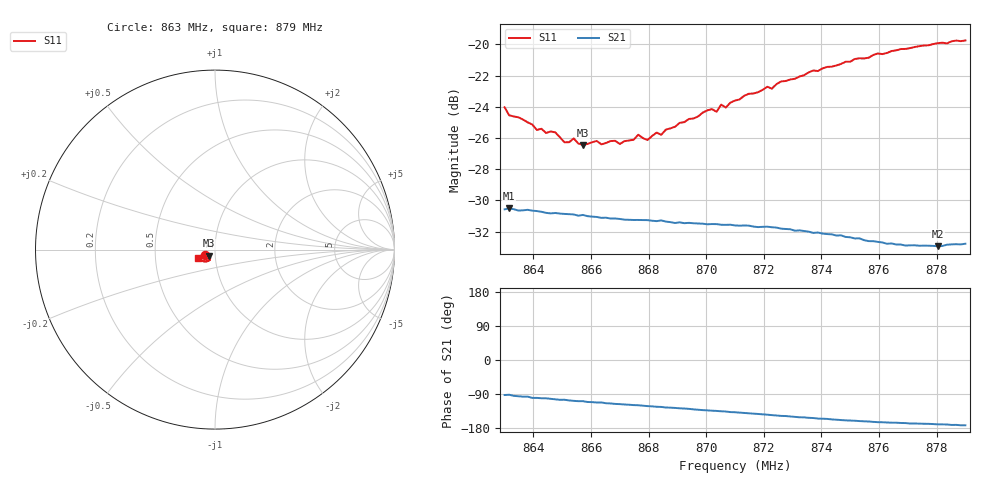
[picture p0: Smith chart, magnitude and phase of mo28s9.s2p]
# HZ S RI R 50
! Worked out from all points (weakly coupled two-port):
!   101 points, 863 MHz to 879 MHz, reference 50 ohm
!   highest |S21| = -30.51 dB at 863.16 MHz (marker M1); lowest = -32.9 dB at 878.04 MHz (marker M2)
!   lowest |S11| = -26.4 dB at 865.72 MHz (marker M3), VSWR 1.10, Z = 46.7 - j3.21 ohm
!   |S11| at or under -10 dB: start of sweep to end of sweep
!   S12 and S22 are empty: the file has one direction only
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8.63e8  -0.0538 -0.0326  -0.00124 -0.0296  0 0  0 0
8.6316e8  -0.0492 -0.033  -0.000913 -0.0298  0 0  0 0
8.6412e8  -0.0429 -0.0315  -0.00507 -0.0288  0 0  0 0
8.6476e8  -0.0413 -0.032  -0.00685 -0.028  0 0  0 0
8.6508e8  -0.0356 -0.033  -0.00734 -0.0277  0 0  0 0
8.654e8  -0.037 -0.0335  -0.00872 -0.0271  0 0  0 0
8.6572e8  -0.0331 -0.0343  -0.00907 -0.0269  0 0  0 0
8.662e8  -0.0333 -0.036  -0.0106 -0.0259  0 0  0 0
8.67e8  -0.0295 -0.0378  -0.0123 -0.0247  0 0  0 0
8.6764e8  -0.0285 -0.0427  -0.0135 -0.0238  0 0  0 0
8.6796e8  -0.0274 -0.0411  -0.0144 -0.0233  0 0  0 0
8.6828e8  -0.0265 -0.0449  -0.0149 -0.0227  0 0  0 0
8.6844e8  -0.0263 -0.044  -0.0152 -0.0227  0 0  0 0
8.6908e8  -0.0277 -0.0487  -0.0164 -0.0213  0 0  0 0
8.7036e8  -0.0279 -0.054  -0.0186 -0.019  0 0  0 0
8.7052e8  -0.0302 -0.0566  -0.0188 -0.0186  0 0  0 0
8.7068e8  -0.0292 -0.0555  -0.019 -0.0184  0 0  0 0
8.71e8  -0.032 -0.0578  -0.0195 -0.0176  0 0  0 0
8.7372e8  -0.0483 -0.0669  -0.0222 -0.0112  0 0  0 0
8.7644e8  -0.0722 -0.0621  -0.0223 -0.0058  0 0  0 0
8.7804e8  -0.0853 -0.0539  -0.0222 -0.00399  0 0  0 0
8.79e8  -0.0922 -0.0458  -0.0228 -0.00307  0 0  0 0
